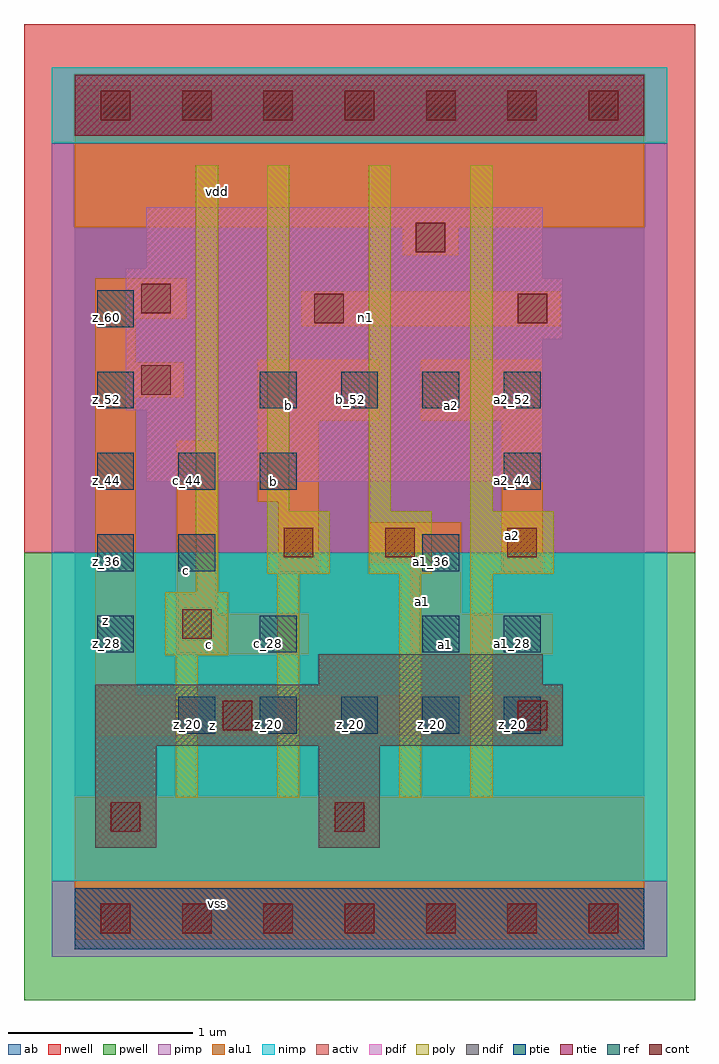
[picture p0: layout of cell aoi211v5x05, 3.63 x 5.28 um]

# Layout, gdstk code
import gdstk
lib = gdstk.Library(unit=1e-6, precision=2.5e-09)
def R(c, l, rs):  # rectangles x0, y0, x1, y1
    for r in rs: c.add(gdstk.rectangle(r[:2], r[2:], *l))
def A(c, l, x, y, w, h, nx, ny, dx, dy):  # array of equal rectangles
    R(c, l, [(x+i*dx, y+j*dy, x+i*dx+w, y+j*dy+h) for i in range(nx) for j in range(ny)])
ndif = (3, 0)
pdif = (4, 0)
ntie = (5, 0)
ptie = (6, 0)
ref = (24, 0)
cont = (25, 0)
pwell = (41, 0)
nwell = (42, 0)
activ = (43, 0)
pimp = (44, 0)
nimp = (45, 0)
poly = (46, 0)
alu1 = (49, 0)
ab = (63, 0)

aoi211v5x05 = lib.new_cell('aoi211v5x05')
R(aoi211v5x05, ndif, [(0.11,0.385,0.44,0.935), (1.32,0.385,1.65,0.935), (0.11,0.935,2.64,1.265), (1.32,1.265,2.53,1.43)])
R(aoi211v5x05, pdif, [(0.385,2.365,2.53,2.75), (0.275,2.75,2.53,3.135), (0.275,3.135,2.64,3.465), (0.275,3.465,2.53,3.52), (0.385,3.52,2.53,3.85)])
R(aoi211v5x05, ntie, [(0,4.235,3.08,4.565)])
R(aoi211v5x05, ptie, [(0,-0.165,3.08,0.165)])
A(aoi211v5x05, ref, 0.56, 1, 0.2, 0.2, 5, 1, 0.44, 0)
A(aoi211v5x05, ref, 0.12, 1.44, 0.2, 0.2, 3, 1, 0.88, 0)
A(aoi211v5x05, ref, 0.12, 2.32, 0.2, 0.2, 3, 1, 0.44, 0)
A(aoi211v5x05, ref, 1, 2.76, 0.2, 0.2, 4, 1, 0.44, 0)
R(aoi211v5x05, ref, [(2.32,1.44,2.52,1.64), (0.12,1.88,0.32,2.08), (0.56,1.88,0.76,2.08), (1.88,1.88,2.08,2.08), (2.32,2.32,2.52,2.52), (0.12,2.76,0.32,2.96), (0.12,3.2,0.32,3.4)])
A(aoi211v5x05, cont, 0.14, -0.08, 0.16, 0.16, 7, 2, 0.44, 4.4)
R(aoi211v5x05, cont, [(0.195,0.47,0.355,0.63), (1.405,0.47,1.565,0.63), (0.8,1.02,0.96,1.18), (2.395,1.02,2.555,1.18), (0.58,1.515,0.74,1.675), (1.13,1.955,1.29,2.115), (1.68,1.955,1.84,2.115), (2.34,1.955,2.5,2.115), (0.36,2.835,0.52,2.995), (1.295,3.22,1.455,3.38), (2.395,3.22,2.555,3.38), (0.36,3.275,0.52,3.435), (1.845,3.605,2.005,3.765)])
R(aoi211v5x05, pwell, [(-0.275,-0.44,3.355,1.98)])
R(aoi211v5x05, nwell, [(-0.275,1.98,3.355,4.84)])
R(aoi211v5x05, activ, [(0,-0.165,3.08,0.165), (0.11,0.385,0.44,0.935), (1.32,0.385,1.65,0.935), (0.11,0.935,2.64,1.265), (1.32,1.265,2.53,1.43), (0.385,2.365,2.53,2.75), (0.275,2.75,2.53,3.135), (0.275,3.135,2.64,3.465), (0.275,3.465,2.53,3.52), (0.385,3.52,2.53,3.85), (0,4.235,3.08,4.565)])
R(aoi211v5x05, pimp, [(-0.125,-0.205,3.205,0.205), (-0.125,1.98,3.205,4.195)])
R(aoi211v5x05, nimp, [(-0.125,0.205,3.205,1.98), (-0.125,4.195,3.205,4.605)])
A(aoi211v5x05, poly, 1.04, 2.205, 0.12, 1.87, 3, 1, 0.55, 0)
R(aoi211v5x05, poly, [(0.545,0.655,0.665,1.425), (1.095,0.655,1.215,1.865), (1.755,0.655,1.875,1.865), (2.14,0.655,2.26,1.865), (0.49,1.425,0.83,1.765), (0.655,1.765,0.775,4.075), (1.04,1.865,1.38,2.205), (1.59,1.865,1.93,2.205), (2.14,1.865,2.59,2.205)])
R(aoi211v5x05, alu1, [(0,-0.11,3.08,0.66), (0.11,0.99,2.64,1.21), (0.11,1.21,0.33,2.82), (0.55,1.43,1.265,1.65), (1.815,1.43,2.585,1.65), (0.55,1.65,0.77,2.585), (1.815,1.65,2.09,1.925), (1.1,1.87,1.32,2.255), (2.31,1.87,2.53,2.695), (1.595,1.925,2.09,2.145), (0.99,2.255,1.32,2.695), (0.99,2.695,1.65,3.025), (1.87,2.695,2.53,3.025), (0.11,2.82,0.59,3.01), (0.11,3.01,0.33,3.245), (1.225,3.205,2.625,3.395), (0.11,3.245,0.605,3.465), (1.775,3.59,2.075,3.74), (0,3.74,3.08,4.51)])
R(aoi211v5x05, ab, [(0,0,3.08,4.4)])
aoi211v5x05.add(gdstk.Label('vss', (0.77,0.0825), layer=49, texttype=0))
aoi211v5x05.add(gdstk.Label('z', (0.7425,1.045), layer=49, texttype=0))
aoi211v5x05.add(gdstk.Label('a1', (2.0075,1.485), layer=49, texttype=0))
aoi211v5x05.add(gdstk.Label('c', (0.7275,1.485), layer=49, texttype=0))
aoi211v5x05.add(gdstk.Label('a2', (2.365,2.075), layer=49, texttype=0))
aoi211v5x05.add(gdstk.Label('a1', (1.8825,1.7175), layer=49, texttype=0))
aoi211v5x05.add(gdstk.Label('b', (1.0725,2.365), layer=49, texttype=0))
aoi211v5x05.add(gdstk.Label('c', (0.605,1.8825), layer=49, texttype=0))
aoi211v5x05.add(gdstk.Label('a2', (2.035,2.7775), layer=49, texttype=0))
aoi211v5x05.add(gdstk.Label('b', (1.155,2.7775), layer=49, texttype=0))
aoi211v5x05.add(gdstk.Label('z', (0.165,1.6125), layer=49, texttype=0))
aoi211v5x05.add(gdstk.Label('n1', (1.575,3.2525), layer=49, texttype=0))
aoi211v5x05.add(gdstk.Label('vdd', (0.77,3.9325), layer=49, texttype=0))
aoi211v5x05.add(gdstk.Label('a2_52', (2.37,2.81), layer=24, texttype=0))
aoi211v5x05.add(gdstk.Label('a2_44', (2.37,2.37), layer=24, texttype=0))
aoi211v5x05.add(gdstk.Label('a1_28', (2.37,1.49), layer=24, texttype=0))
aoi211v5x05.add(gdstk.Label('z_20', (2.37,1.05), layer=24, texttype=0))
aoi211v5x05.add(gdstk.Label('z_60', (0.17,3.25), layer=24, texttype=0))
aoi211v5x05.add(gdstk.Label('z_52', (0.17,2.81), layer=24, texttype=0))
aoi211v5x05.add(gdstk.Label('z_44', (0.17,2.37), layer=24, texttype=0))
aoi211v5x05.add(gdstk.Label('z_36', (0.17,1.93), layer=24, texttype=0))
aoi211v5x05.add(gdstk.Label('z_28', (0.17,1.49), layer=24, texttype=0))
aoi211v5x05.add(gdstk.Label('a2_52', (1.93,2.81), layer=24, texttype=0))
aoi211v5x05.add(gdstk.Label('a1_36', (1.93,1.93), layer=24, texttype=0))
aoi211v5x05.add(gdstk.Label('a1_28', (1.93,1.49), layer=24, texttype=0))
aoi211v5x05.add(gdstk.Label('z_20', (1.93,1.05), layer=24, texttype=0))
aoi211v5x05.add(gdstk.Label('b_52', (1.49,2.81), layer=24, texttype=0))
aoi211v5x05.add(gdstk.Label('z_20', (1.49,1.05), layer=24, texttype=0))
aoi211v5x05.add(gdstk.Label('b_52', (1.05,2.81), layer=24, texttype=0))
aoi211v5x05.add(gdstk.Label('b_44', (1.05,2.37), layer=24, texttype=0))
aoi211v5x05.add(gdstk.Label('c_28', (1.05,1.49), layer=24, texttype=0))
aoi211v5x05.add(gdstk.Label('z_20', (1.05,1.05), layer=24, texttype=0))
aoi211v5x05.add(gdstk.Label('c_44', (0.61,2.37), layer=24, texttype=0))
aoi211v5x05.add(gdstk.Label('c_36', (0.61,1.93), layer=24, texttype=0))
aoi211v5x05.add(gdstk.Label('z_20', (0.61,1.05), layer=24, texttype=0))

lib.write_gds('aoi211v5x05.gds')
